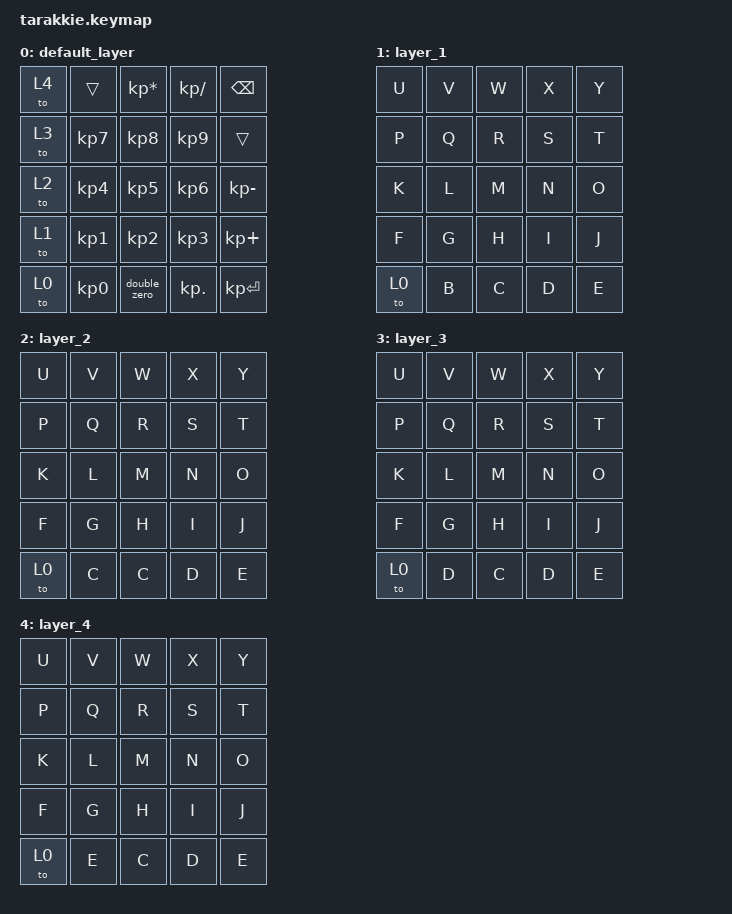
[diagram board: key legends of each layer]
#include <behaviors.dtsi>
#include <dt-bindings/zmk/keys.h>
#include <dt-bindings/zmk/bt.h>

/ {
    macros {
        double_zero: double_zero {
            compatible = "zmk,behavior-macro";
            label = "DOUBLE_ZERO";
            #binding-cells = <0>;
            bindings
                = <&macro_press &kp KP_N0>
                , <&macro_tap &kp KP_N0>
                , <&macro_release &kp KP_N0>
                ;
        };
    };

    keymap {
        compatible = "zmk,keymap";

        default_layer {
            bindings = <
            //     Col0         Col1         Col2         Col3         Col4
            /* Row 0 - (レイヤー4), *, /, Backspace */
                &to 4 &trans          &kp KP_MULTIPLY  &kp KP_DIVIDE    &kp BSPC
            /* Row 1 - (レイヤー3), 7, 8, 9, (空) */
                &to 3 &kp KP_N7        &kp KP_N8       &kp KP_N9        &trans
            /* Row 2 - (レイヤー2), 4, 5, 6, - */
                &to 2 &kp KP_N4        &kp KP_N5       &kp KP_N6        &kp KP_MINUS
            /* Row 3 - (レイヤー1), 1, 2, 3, + */
                &to 1 &kp KP_N1        &kp KP_N2       &kp KP_N3        &kp KP_PLUS
            /* Row 4 - (デフォルトレイヤー0), 0, 00, ., Enter */
                &to 0 &kp KP_N0        &double_zero     &kp KP_DOT       &kp KP_ENTER
            >;
        };

        layer_1 {
            bindings = <
            //     Col0         Col1         Col2         Col3         Col4
            /* Row 0 */
                &kp U &kp V &kp W &kp X &kp Y
            /* Row 1 */
                &kp P &kp Q &kp R &kp S &kp T
            /* Row 2 */
                &kp K &kp L &kp M &kp N &kp O
            /* Row 3 */
                &kp F &kp G &kp H &kp I &kp J
            /* Row 4 */
                &to 0 &kp B &kp C &kp D &kp E
            >;
        };

        layer_2 {
            bindings = <
            //     Col0         Col1         Col2         Col3         Col4
            /* Row 0 */
                &kp U &kp V &kp W &kp X &kp Y
            /* Row 1 */
                &kp P &kp Q &kp R &kp S &kp T
            /* Row 2 */
                &kp K &kp L &kp M &kp N &kp O
            /* Row 3 */
                &kp F &kp G &kp H &kp I &kp J
            /* Row 4 */
                &to 0 &kp C &kp C &kp D &kp E
            >;
        };

        layer_3 {
            bindings = <
            //     Col0         Col1         Col2         Col3         Col4
            /* Row 0 */
                &kp U &kp V &kp W &kp X &kp Y
            /* Row 1 */
                &kp P &kp Q &kp R &kp S &kp T
            /* Row 2 */
                &kp K &kp L &kp M &kp N &kp O
            /* Row 3 */
                &kp F &kp G &kp H &kp I &kp J
            /* Row 4 */
                &to 0 &kp D &kp C &kp D &kp E
            >;
        };

        layer_4 {
            bindings = <
            //     Col0         Col1         Col2         Col3         Col4
            /* Row 0 */
                &kp U &kp V &kp W &kp X &kp Y
            /* Row 1 */
                &kp P &kp Q &kp R &kp S &kp T
            /* Row 2 */
                &kp K &kp L &kp M &kp N &kp O
            /* Row 3 */
                &kp F &kp G &kp H &kp I &kp J
            /* Row 4 */
                &to 0 &kp E &kp C &kp D &kp E
            >;
        };
    };
};
